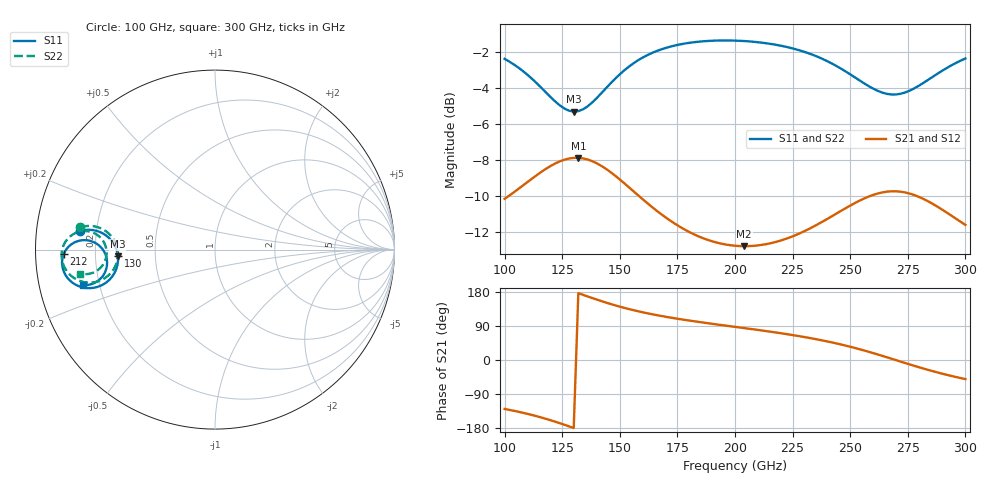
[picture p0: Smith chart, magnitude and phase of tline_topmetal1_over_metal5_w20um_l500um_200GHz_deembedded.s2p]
! Created with skrf 2.0.1 (http://scikit-rf.org).
# GHz S DB R 50.0
!freq dBS11 angS11 dBS21 angS21 dBS12 angS12 dBS22 angS22
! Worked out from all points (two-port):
!   101 points, 100 GHz to 300 GHz, reference 50 ohm
!   highest |S21| = -7.89 dB at 132 GHz (marker M1); lowest = -12.8 dB at 204 GHz (marker M2)
!   |S21| within 3 dB of the highest: start of sweep to 166.6 GHz; 245.4 GHz to 291.3 GHz (45.96 GHz wide, 17.1 % of centre)
!   lowest |S11| = -5.3 dB at 130 GHz (marker M3), VSWR 3.37, Z = 14.9 - j1.54 ohm
!   |S11| at or under -10 dB: nowhere
!   |S22| runs from -5.3 to -1.4 dB; largest |S21 - S12| = 2e-16
!   S11 on the Smith chart (normalised r, x): 100 GHz: 0.14, +0.07; 130 GHz: 0.30, -0.03; 212 GHz: 0.09, -0.01; 300 GHz: 0.14, -0.13
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100  -2.38 172.3  -10.17 -129.2  -10.17 -129.2  -2.38 170.6
108  -3.06 171.0  -9.43 -139.4  -9.43 -139.4  -3.07 169.2
116  -4.00 171.8  -8.67 -151.9  -8.67 -151.9  -4.00 169.9
124  -4.97 176.9  -8.09 -166.9  -8.09 -166.9  -4.98 174.8
130  -5.32 -176.1  -7.90 -179.4  -7.90 -179.4  -5.33 -178.3
132  -5.29 -173.6  -7.89 176.3  -7.89 176.3  -5.30 -175.7
134  -5.19 -171.1  -7.92 172.0  -7.92 172.0  -5.20 -173.3
142  -4.29 -164.1  -8.34 155.4  -8.34 155.4  -4.30 -166.4
150  -3.24 -162.4  -9.10 140.8  -9.10 140.8  -3.25 -164.8
158  -2.45 -163.6  -9.98 128.6  -9.98 128.6  -2.46 -166.1
168  -1.85 -166.4  -11.03 116.2  -11.03 116.2  -1.85 -169.1
182  -1.46 -170.6  -12.14 102.4  -12.14 102.4  -1.46 -173.5
200  -1.36 -175.4  -12.79 87.4  -12.79 87.4  -1.37 -178.6
204  -1.39 -176.4  -12.81 84.2  -12.81 84.2  -1.39 -179.7
212  -1.48 -178.3  -12.73 77.6  -12.73 77.6  -1.49 178.2
234  -2.17 176.9  -11.72 56.3  -11.72 56.3  -2.17 173.1
244  -2.77 175.8  -11.00 43.7  -11.00 43.7  -2.78 171.8
252  -3.41 176.5  -10.41 31.8  -10.41 31.8  -3.41 172.4
268  -4.36 -174.9  -9.75 3.2  -9.75 3.2  -4.38 -179.2
276  -4.14 -169.0  -9.89 -12.0  -9.89 -12.0  -4.15 -173.5
284  -3.53 -165.4  -10.32 -26.4  -10.32 -26.4  -3.54 -170.0
300  -2.36 -165.0  -11.63 -50.4  -11.63 -50.4  -2.36 -169.9
